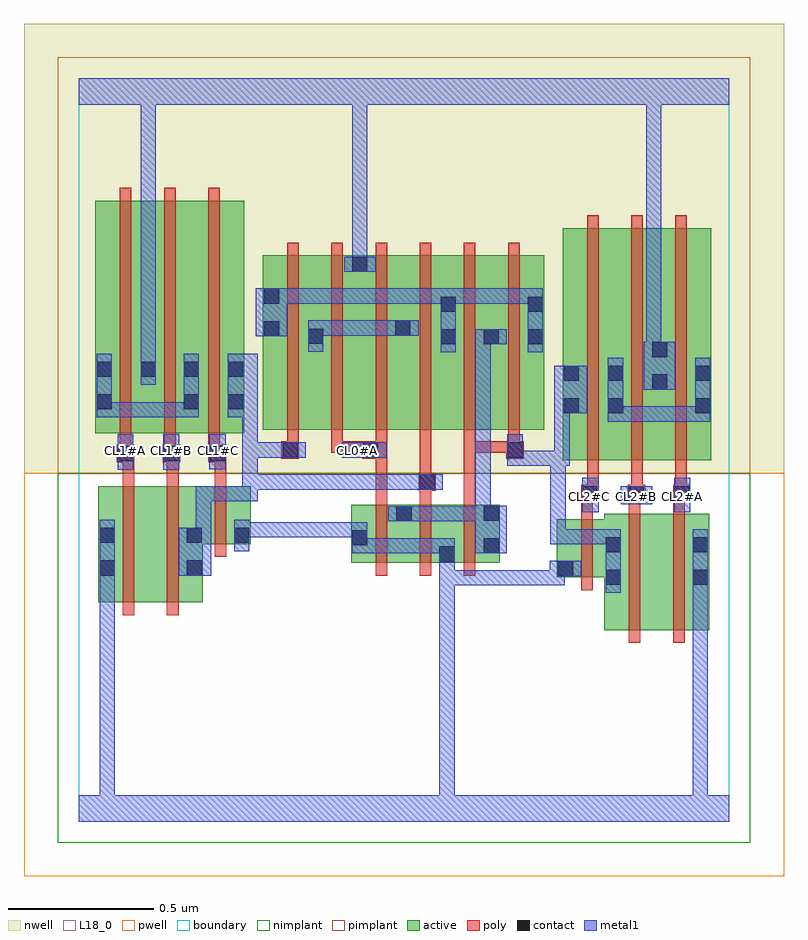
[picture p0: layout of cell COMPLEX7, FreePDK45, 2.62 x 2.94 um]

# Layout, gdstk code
import gdstk
lib = gdstk.Library(unit=1e-6, precision=1e-09)
def R(c, l, rs):  # rectangles x0, y0, x1, y1
    for r in rs: c.add(gdstk.rectangle(r[:2], r[2:], *l))
def A(c, l, x, y, w, h, nx, ny, dx, dy):  # array of equal rectangles
    R(c, l, [(x+i*dx, y+j*dy, x+i*dx+w, y+j*dy+h) for i in range(nx) for j in range(ny)])
active = (1, 0)
pwell = (2, 0)
nwell = (3, 0)
nimplant = (4, 0)
pimplant = (5, 0)
poly = (9, 0)
contact = (10, 0)
metal1 = (11, 0)
L18_0 = (18, 0)
boundary = (235, 0)

complex7 = lib.new_cell('COMPLEX7')
A(complex7, active, 0.634, 1.35, 0.06, 0.6, 3, 1, 0.152, 0)
R(complex7, active, [(1.81,0.66,1.99,1.06), (1.99,0.66,2.17,1.06), (2.11,0.66,2.17,1.06), (0.068,0.756,0.128,1.156), (0.068,0.756,0.248,1.156), (0.248,0.756,0.428,1.156), (0.368,0.756,0.428,1.156), (1.81,0.798,1.87,1.028), (1.646,0.842,1.87,1.042), (1.646,0.842,1.706,1.042), (0.938,0.892,0.998,1.092), (0.938,0.892,1.15,1.092), (1.09,0.892,1.298,1.092), (1.09,0.892,1.15,1.09), (1.238,0.892,1.45,1.092), (1.238,0.892,1.298,0.952), (1.39,0.892,1.45,1.092), (0.368,0.956,0.592,1.156), (0.532,0.956,0.592,1.156), (1.666,1.244,1.726,2.044), (1.666,1.244,1.878,2.044), (1.818,1.244,1.878,2.044), (1.818,1.244,2.03,2.044), (1.97,1.244,2.178,2.044), (2.118,1.244,2.178,2.044), (0.058,1.338,0.118,2.138), (0.058,1.338,0.27,2.138), (0.21,1.338,0.418,2.138), (0.358,1.338,0.57,2.138), (0.51,1.338,0.57,2.044), (0.634,1.35,0.846,1.95), (0.786,1.35,0.998,1.95), (0.938,1.35,1.146,1.95), (1.086,1.35,1.146,1.844), (1.086,1.35,1.302,1.95), (1.242,1.35,1.302,1.95), (1.242,1.35,1.45,1.95), (1.39,1.35,1.602,1.95), (1.39,1.35,1.45,1.844), (1.542,1.35,1.602,1.95), (0.21,1.416,0.27,2.138), (0.358,1.416,0.418,2.138), (1.97,1.442,2.03,2.044)])
R(complex7, pwell, [(-0.188,-0.188,2.428,1.2)])
R(complex7, nwell, [(-0.188,1.2,2.428,2.748)])
R(complex7, nimplant, [(-0.072,-0.072,2.312,1.2)])
R(complex7, pimplant, [(-0.072,1.2,2.312,2.632)])
A(complex7, poly, 1.022, 0.848, 0.04, 0.288, 3, 1, 0.152, 0)
A(complex7, poly, 1.75, 1.12, 0.04, 0.12, 3, 1, 0.152, 0)
A(complex7, poly, 1.75, 1.2, 0.04, 0.888, 3, 1, 0.152, 0)
A(complex7, poly, 0.142, 1.258, 0.04, 0.076, 3, 1, 0.152, 0)
A(complex7, poly, 0.718, 1.27, 0.04, 0.076, 3, 1, 0.152, 0)
A(complex7, poly, 0.142, 1.294, 0.04, 0.888, 3, 1, 0.152, 0)
A(complex7, poly, 0.718, 1.306, 0.04, 0.688, 6, 1, 0.152, 0)
R(complex7, poly, [(1.894,0.616,1.934,1.104), (2.046,0.616,2.086,1.104), (0.152,0.712,0.192,1.2), (0.304,0.712,0.344,1.2), (1.73,0.798,1.77,1.086), (0.468,0.912,0.508,1.2), (1.73,1.046,1.77,1.14), (1.894,1.064,1.934,1.14), (2.046,1.064,2.086,1.14), (1.022,1.096,1.062,1.29), (1.174,1.096,1.214,1.18), (1.326,1.096,1.366,1.31), (1.73,1.1,1.79,1.16), (1.89,1.1,1.95,1.16), (1.894,1.1,1.934,1.14), (1.894,1.1,1.934,1.14), (2.046,1.1,2.086,1.14), (2.046,1.1,2.086,1.14), (2.046,1.1,2.106,1.16), (1.75,1.12,1.79,1.16), (1.75,1.12,1.79,1.16), (1.17,1.14,1.23,1.2), (0.152,1.16,0.192,1.278), (0.304,1.16,0.344,1.278), (0.468,1.16,0.508,1.278), (1.174,1.16,1.214,1.2), (1.174,1.16,1.214,1.2), (1.174,1.16,1.214,1.346), (0.132,1.238,0.192,1.298), (0.29,1.238,0.35,1.298), (0.446,1.238,0.508,1.298), (0.468,1.238,0.508,1.278), (0.468,1.238,0.508,1.278), (0.698,1.25,0.758,1.31), (0.976,1.25,1.062,1.31), (1.022,1.25,1.062,1.29), (1.022,1.25,1.062,1.29), (1.472,1.25,1.532,1.31), (0.142,1.258,0.182,1.298), (0.142,1.258,0.182,1.298), (0.294,1.258,0.334,1.298), (0.294,1.258,0.334,1.298), (0.87,1.27,0.91,1.31), (0.87,1.27,0.91,1.31), (0.87,1.27,0.91,1.31), (0.87,1.27,1.016,1.31), (1.326,1.27,1.366,1.31), (1.326,1.27,1.366,1.31), (1.326,1.27,1.366,1.31), (1.326,1.27,1.366,1.31), (1.326,1.27,1.366,1.31), (1.326,1.27,1.366,1.346), (1.326,1.27,1.512,1.31), (1.478,1.27,1.518,1.346)])
A(complex7, contact, 0.136, 1.242, 0.052, 0.052, 3, 1, 0.158, 0)
R(complex7, contact, [(1.814,0.816,1.866,0.868), (2.114,0.816,2.166,0.868), (1.65,0.846,1.702,0.898), (0.072,0.848,0.124,0.9), (0.372,0.848,0.424,0.9), (1.242,0.896,1.294,0.948), (1.394,0.924,1.446,0.976), (1.814,0.928,1.866,0.98), (2.114,0.928,2.166,0.98), (0.942,0.952,0.994,1.004), (0.072,0.96,0.124,1.012), (0.372,0.96,0.424,1.012), (0.536,0.96,0.588,1.012), (1.094,1.034,1.146,1.086), (1.394,1.036,1.446,1.088), (1.734,1.104,1.786,1.156), (1.894,1.104,1.946,1.156), (2.05,1.104,2.102,1.156), (1.174,1.144,1.226,1.196), (0.702,1.254,0.754,1.306), (0.98,1.254,1.032,1.306), (1.476,1.254,1.528,1.306), (1.67,1.406,1.722,1.458), (1.822,1.406,1.874,1.458), (2.122,1.406,2.174,1.458), (0.062,1.42,0.114,1.472), (0.362,1.42,0.414,1.472), (0.514,1.42,0.566,1.472), (1.974,1.488,2.026,1.54), (1.67,1.518,1.722,1.57), (1.822,1.518,1.874,1.57), (2.122,1.518,2.174,1.57), (0.062,1.532,0.114,1.584), (0.214,1.532,0.266,1.584), (0.362,1.532,0.414,1.584), (0.514,1.532,0.566,1.584), (1.974,1.6,2.026,1.652), (1.246,1.644,1.298,1.696), (1.394,1.644,1.446,1.696), (1.546,1.644,1.598,1.696), (0.79,1.646,0.842,1.698), (0.638,1.672,0.69,1.724), (1.09,1.674,1.142,1.726), (1.246,1.756,1.298,1.808), (1.546,1.756,1.598,1.808), (0.638,1.784,0.69,1.836), (0.942,1.894,0.994,1.946)])
R(complex7, metal1, [(0,0,2.24,0.092), (0.072,0.04,0.124,0.092), (0.072,0.04,0.124,0.092), (0.072,0.04,0.124,0.092), (0.072,0.04,0.124,0.092), (0.072,0.04,0.124,0.092), (0.072,0.04,0.124,0.092), (0.072,0.04,0.124,0.092), (0.072,0.04,0.124,0.092), (0.072,0.04,0.124,0.092), (0.072,0.04,0.124,0.092), (0.072,0.04,0.124,0.092), (0.072,0.04,0.124,0.092), (0.072,0.04,0.124,0.872), (1.242,0.04,1.294,0.092), (1.242,0.04,1.294,0.092), (1.242,0.04,1.294,0.092), (1.242,0.04,1.294,0.092), (1.242,0.04,1.294,0.092), (1.242,0.04,1.294,0.092), (1.242,0.04,1.294,0.092), (1.242,0.04,1.294,0.092), (1.242,0.04,1.294,0.92), (2.114,0.04,2.166,0.092), (2.114,0.04,2.166,0.092), (2.114,0.04,2.166,0.092), (2.114,0.04,2.166,0.092), (2.114,0.04,2.166,0.092), (2.114,0.04,2.166,0.092), (2.114,0.04,2.166,0.092), (2.114,0.04,2.166,0.092), (2.114,0.04,2.166,0.092), (2.114,0.04,2.166,0.092), (2.114,0.04,2.166,0.84), (1.814,0.788,1.866,1.008), (2.114,0.788,2.166,1.008), (2.114,0.788,2.166,0.84), (2.114,0.788,2.166,0.84), (1.242,0.814,1.408,0.866), (1.242,0.814,1.294,0.92), (1.356,0.814,1.408,0.866), (1.356,0.814,1.408,0.866), (1.356,0.814,1.408,0.866), (1.356,0.814,1.674,0.866), (1.622,0.814,1.674,0.898), (0.072,0.82,0.124,1.04), (1.622,0.846,1.674,0.898), (1.622,0.846,1.73,0.898), (0.344,0.848,0.456,1.012), (1.242,0.868,1.294,0.92), (1.242,0.868,1.294,0.92), (1.242,0.868,1.294,0.92), (1.242,0.868,1.294,0.92), (1.242,0.868,1.294,0.92), (1.242,0.868,1.294,0.92), (1.242,0.868,1.294,0.92), (1.242,0.868,1.294,0.92), (1.242,0.868,1.294,0.92), (1.242,0.868,1.294,0.976), (0.942,0.924,0.994,0.976), (0.942,0.924,0.994,0.976), (0.942,0.924,1.104,0.976), (0.942,0.924,0.994,1.032), (1.052,0.924,1.104,0.976), (1.052,0.924,1.104,0.976), (1.052,0.924,1.104,0.976), (1.052,0.924,1.294,0.976), (1.366,0.924,1.474,1.088), (0.536,0.932,0.588,1.04), (1.624,0.956,1.676,1.008), (1.624,0.956,1.786,1.008), (1.624,0.956,1.676,1.278), (1.734,0.956,1.786,1.008), (1.734,0.956,1.866,1.008), (0.404,0.96,0.456,1.156), (0.536,0.98,0.726,1.032), (0.674,0.98,0.726,1.032), (0.674,0.98,0.726,1.032), (0.674,0.98,0.726,1.032), (0.674,0.98,0.848,1.032), (0.796,0.98,0.848,1.032), (0.796,0.98,0.848,1.032), (0.796,0.98,0.848,1.032), (0.796,0.98,0.994,1.032), (0.942,0.98,0.994,1.032), (0.942,0.98,0.994,1.032), (1.066,1.034,1.184,1.086), (1.132,1.034,1.184,1.086), (1.132,1.034,1.184,1.086), (1.132,1.034,1.294,1.086), (1.242,1.034,1.294,1.086), (1.242,1.034,1.294,1.086), (1.242,1.034,1.294,1.086), (1.242,1.034,1.418,1.086), (1.366,1.036,1.418,1.088), (1.366,1.036,1.418,1.088), (1.366,1.036,1.418,1.088), (1.366,1.036,1.418,1.088), (1.366,1.036,1.418,1.696), (1.734,1.066,1.79,1.184), (2.05,1.066,2.106,1.184), (1.866,1.094,1.974,1.156), (0.404,1.104,0.456,1.156), (0.404,1.104,0.456,1.156), (0.404,1.104,0.456,1.156), (0.404,1.104,0.616,1.156), (0.564,1.104,0.616,1.196), (0.564,1.144,0.616,1.196), (0.564,1.144,0.616,1.196), (0.564,1.144,0.726,1.196), (0.564,1.144,0.616,1.306), (0.674,1.144,0.726,1.196), (0.674,1.144,0.848,1.196), (0.796,1.144,0.848,1.196), (0.796,1.144,0.848,1.196), (0.796,1.144,0.848,1.196), (0.796,1.144,0.994,1.196), (0.942,1.144,0.994,1.196), (0.942,1.144,0.994,1.196), (0.942,1.144,0.994,1.196), (0.942,1.144,1.104,1.196), (1.052,1.144,1.104,1.196), (1.052,1.144,1.198,1.196), (1.146,1.144,1.254,1.196), (0.134,1.212,0.188,1.334), (0.292,1.212,0.346,1.334), (0.45,1.214,0.506,1.334), (1.476,1.226,1.676,1.278), (1.476,1.226,1.528,1.334), (1.624,1.226,1.676,1.278), (1.624,1.226,1.676,1.278), (1.624,1.226,1.676,1.278), (1.624,1.226,1.676,1.278), (1.624,1.226,1.69,1.278), (1.638,1.226,1.69,1.458), (0.564,1.254,0.616,1.306), (0.564,1.254,0.616,1.306), (0.564,1.254,0.616,1.306), (0.564,1.254,0.726,1.306), (0.564,1.254,0.616,1.444), (0.674,1.254,0.782,1.306), (0.906,1.254,1.06,1.306), (1.822,1.378,1.874,1.598), (1.822,1.378,1.896,1.43), (1.844,1.378,1.896,1.43), (1.844,1.378,2.056,1.43), (2.004,1.378,2.174,1.43), (2.004,1.378,2.056,1.43), (2.004,1.378,2.056,1.43), (2.004,1.378,2.056,1.43), (2.122,1.378,2.174,1.598), (0.062,1.392,0.114,1.612), (0.062,1.392,0.114,1.444), (0.062,1.392,0.114,1.444), (0.062,1.392,0.286,1.444), (0.234,1.392,0.286,1.444), (0.234,1.392,0.286,1.444), (0.234,1.392,0.286,1.444), (0.234,1.392,0.414,1.444), (0.362,1.392,0.414,1.612), (0.514,1.392,0.616,1.612), (1.638,1.406,1.75,1.57), (1.946,1.488,2.054,1.652), (0.214,1.504,0.266,1.612), (0.214,1.56,0.266,1.612), (0.214,1.56,0.266,1.612), (0.214,1.56,0.266,2.52), (1.954,1.6,2.006,1.652), (1.954,1.6,2.006,1.652), (1.954,1.6,2.006,1.652), (1.954,1.6,2.006,1.652), (1.954,1.6,2.006,1.652), (1.954,1.6,2.006,1.652), (1.954,1.6,2.006,2.52), (1.246,1.616,1.298,1.836), (1.546,1.616,1.598,1.836), (0.79,1.618,0.842,1.726), (1.366,1.644,1.474,1.696), (0.61,1.672,0.718,1.836), (0.79,1.674,0.842,1.726), (0.79,1.674,0.842,1.726), (0.79,1.674,0.994,1.726), (0.942,1.674,0.994,1.726), (0.942,1.674,0.994,1.726), (0.942,1.674,0.994,1.726), (0.942,1.674,1.114,1.726), (1.062,1.674,1.17,1.726), (0.666,1.784,0.732,1.836), (0.68,1.784,0.732,1.836), (0.68,1.784,0.842,1.836), (0.79,1.784,0.842,1.836), (0.79,1.784,0.842,1.836), (0.79,1.784,0.842,1.836), (0.79,1.784,0.958,1.836), (0.906,1.784,0.958,1.836), (0.906,1.784,0.958,1.836), (0.906,1.784,0.958,1.836), (0.906,1.784,1.104,1.836), (1.052,1.784,1.104,1.836), (1.052,1.784,1.104,1.836), (1.052,1.784,1.104,1.836), (1.052,1.784,1.298,1.836), (1.246,1.784,1.298,1.836), (1.246,1.784,1.298,1.836), (1.246,1.784,1.408,1.836), (1.356,1.784,1.408,1.836), (1.356,1.784,1.528,1.836), (1.476,1.784,1.528,1.836), (1.476,1.784,1.598,1.836), (0.914,1.894,1.022,1.946), (0.942,1.894,0.994,2.52), (0,2.468,2.24,2.56), (0.214,2.468,0.266,2.52), (0.214,2.468,0.266,2.52), (0.214,2.468,0.266,2.52), (0.214,2.468,0.266,2.52), (0.214,2.468,0.266,2.52), (0.214,2.468,0.266,2.52), (0.942,2.468,0.994,2.52), (0.942,2.468,0.994,2.52), (0.942,2.468,0.994,2.52), (0.942,2.468,0.994,2.52), (0.942,2.468,0.994,2.52), (0.942,2.468,0.994,2.52), (0.942,2.468,0.994,2.52), (0.942,2.468,0.994,2.52), (0.942,2.468,0.994,2.52), (0.942,2.468,0.994,2.52), (0.942,2.468,0.994,2.52), (0.942,2.468,0.994,2.52), (1.954,2.468,2.006,2.52), (1.954,2.468,2.006,2.52)])
A(complex7, L18_0, 1.734, 1.094, 0.052, 0.052, 3, 1, 0.16, 0)
A(complex7, L18_0, 0.134, 1.254, 0.052, 0.052, 3, 1, 0.16, 0)
R(complex7, L18_0, [(0,0,2.24,0.092), (0.072,0.04,0.124,0.092), (0.072,0.04,0.124,0.092), (0.072,0.04,0.124,0.092), (0.072,0.04,0.124,0.092), (0.072,0.04,0.124,0.092), (0.072,0.04,0.124,0.092), (0.072,0.04,0.124,0.092), (0.072,0.04,0.124,0.092), (0.072,0.04,0.124,0.092), (0.072,0.04,0.124,0.092), (0.072,0.04,0.124,0.092), (0.072,0.04,0.124,0.092), (0.072,0.04,0.124,0.872), (1.242,0.04,1.294,0.092), (1.242,0.04,1.294,0.092), (1.242,0.04,1.294,0.092), (1.242,0.04,1.294,0.092), (1.242,0.04,1.294,0.092), (1.242,0.04,1.294,0.092), (1.242,0.04,1.294,0.092), (1.242,0.04,1.294,0.092), (1.242,0.04,1.294,0.92), (2.114,0.04,2.166,0.092), (2.114,0.04,2.166,0.092), (2.114,0.04,2.166,0.092), (2.114,0.04,2.166,0.092), (2.114,0.04,2.166,0.092), (2.114,0.04,2.166,0.092), (2.114,0.04,2.166,0.092), (2.114,0.04,2.166,0.092), (2.114,0.04,2.166,0.092), (2.114,0.04,2.166,0.092), (2.114,0.04,2.166,0.84), (2.114,0.788,2.166,0.84), (2.114,0.788,2.166,0.84), (2.114,0.788,2.166,1.008), (1.242,0.814,1.294,0.92), (1.242,0.814,1.408,0.866), (1.356,0.814,1.408,0.866), (1.356,0.814,1.408,0.866), (1.356,0.814,1.408,0.866), (1.356,0.814,1.674,0.866), (1.622,0.814,1.674,0.898), (0.072,0.82,0.124,1.04), (1.622,0.846,1.674,0.898), (1.622,0.846,1.73,0.898), (1.242,0.868,1.294,0.92), (1.242,0.868,1.294,0.92), (1.242,0.868,1.294,0.92), (1.242,0.868,1.294,0.92), (1.242,0.868,1.294,0.92), (1.242,0.868,1.294,0.92), (1.242,0.868,1.294,0.92), (1.242,0.868,1.294,0.92), (1.242,0.868,1.294,0.92), (1.242,0.868,1.294,0.976), (0.942,0.924,0.994,0.976), (0.942,0.924,0.994,0.976), (0.942,0.924,0.994,1.032), (0.942,0.924,1.104,0.976), (1.052,0.924,1.104,0.976), (1.052,0.924,1.104,0.976), (1.052,0.924,1.104,0.976), (1.052,0.924,1.294,0.976), (0.536,0.932,0.588,1.04), (0.536,0.98,0.726,1.032), (0.674,0.98,0.726,1.032), (0.674,0.98,0.726,1.032), (0.674,0.98,0.726,1.032), (0.674,0.98,0.848,1.032), (0.796,0.98,0.848,1.032), (0.796,0.98,0.848,1.032), (0.796,0.98,0.848,1.032), (0.796,0.98,0.994,1.032), (0.942,0.98,0.994,1.032), (0.942,0.98,0.994,1.032), (1.734,1.066,1.79,1.184), (2.05,1.066,2.106,1.184), (1.866,1.094,1.974,1.156), (0.134,1.212,0.188,1.334), (0.292,1.212,0.346,1.334), (0.45,1.214,0.506,1.334), (0.906,1.254,1.06,1.306), (0.934,1.254,0.986,1.306), (1.946,1.488,2.054,1.652), (0.214,1.504,0.266,1.612), (0.214,1.56,0.266,1.612), (0.214,1.56,0.266,1.612), (0.214,1.56,0.266,2.52), (1.954,1.6,2.006,1.652), (1.954,1.6,2.006,1.652), (1.954,1.6,2.006,1.652), (1.954,1.6,2.006,1.652), (1.954,1.6,2.006,1.652), (1.954,1.6,2.006,1.652), (1.954,1.6,2.006,2.52), (0.914,1.894,1.022,1.946), (0.942,1.894,0.994,2.52), (0,2.468,2.24,2.56), (0.214,2.468,0.266,2.52), (0.214,2.468,0.266,2.52), (0.214,2.468,0.266,2.52), (0.214,2.468,0.266,2.52), (0.214,2.468,0.266,2.52), (0.214,2.468,0.266,2.52), (0.942,2.468,0.994,2.52), (0.942,2.468,0.994,2.52), (0.942,2.468,0.994,2.52), (0.942,2.468,0.994,2.52), (0.942,2.468,0.994,2.52), (0.942,2.468,0.994,2.52), (0.942,2.468,0.994,2.52), (0.942,2.468,0.994,2.52), (0.942,2.468,0.994,2.52), (0.942,2.468,0.994,2.52), (0.942,2.468,0.994,2.52), (0.942,2.468,0.994,2.52), (1.954,2.468,2.006,2.52), (1.954,2.468,2.006,2.52)])
R(complex7, boundary, [(0,0,2.24,2.56)])
complex7.add(gdstk.Label('CL0#A', (0.96,1.28), layer=11, texttype=0))
complex7.add(gdstk.Label('CL1#A', (0.16,1.28), layer=11, texttype=0))
complex7.add(gdstk.Label('CL1#B', (0.32,1.28), layer=11, texttype=0))
complex7.add(gdstk.Label('CL1#C', (0.48,1.28), layer=11, texttype=0))
complex7.add(gdstk.Label('CL2#A', (2.08,1.12), layer=11, texttype=0))
complex7.add(gdstk.Label('CL2#B', (1.92,1.12), layer=11, texttype=0))
complex7.add(gdstk.Label('CL2#C', (1.76,1.12), layer=11, texttype=0))

lib.write_gds('COMPLEX7.gds')
